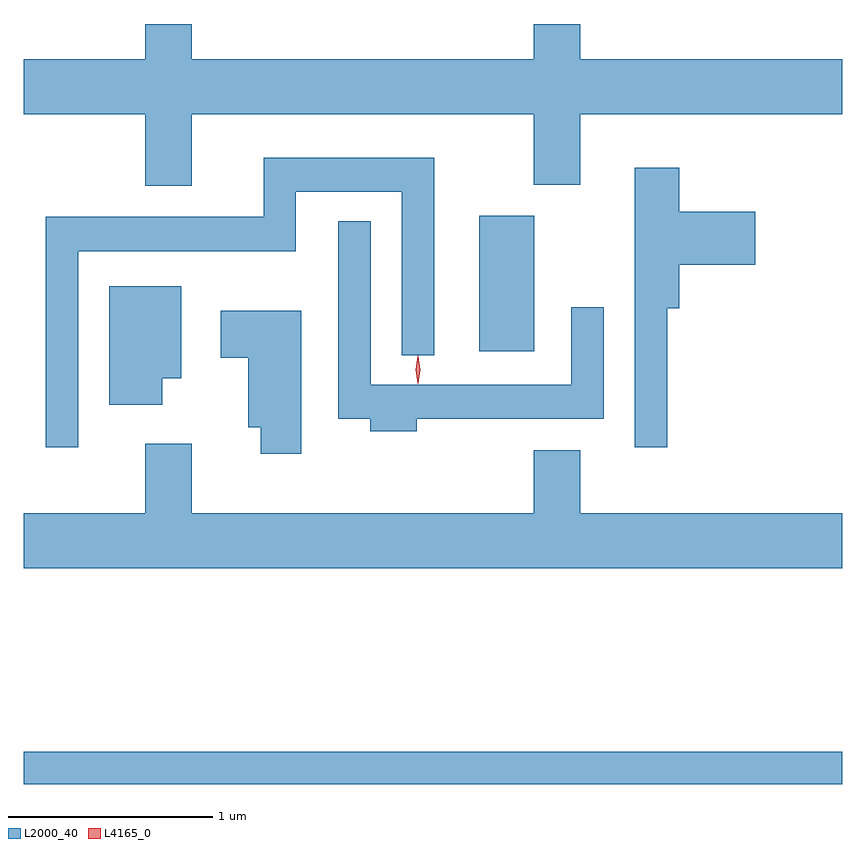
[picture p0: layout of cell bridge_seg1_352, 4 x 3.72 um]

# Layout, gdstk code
import gdstk
lib = gdstk.Library(unit=1e-6, precision=1e-09)
def R(c, l, rs):  # rectangles x0, y0, x1, y1
    for r in rs: c.add(gdstk.rectangle(r[:2], r[2:], *l))
def P(c, l, *ps):  # polygons
    for p in ps: c.add(gdstk.Polygon(p, *l))
L2000_40 = (2000, 40)
L4165_0 = (4165, 0)

bridge_seg1_352 = lib.new_cell('bridge_seg1_352')
R(bridge_seg1_352, L2000_40, [(940.819,871.881,944.819,872.039), (943.046,873.996,943.314,874.659)])
P(bridge_seg1_352, L2000_40, [(941.639,875.156),(943.311,875.156),(943.311,874.811),(943.539,874.811),(943.539,875.156),(944.819,875.156),(944.819,875.424),(943.539,875.424),(943.539,875.597),(943.311,875.597),(943.311,875.424),(941.639,875.424),(941.639,875.597),(941.411,875.597),(941.411,875.424),(940.819,875.424),(940.819,875.156),(941.411,875.156),(941.411,874.806),(941.639,874.806)],
  [(941.084,874.486),(942.149,874.486),(942.149,874.776),(942.666,874.776),(942.666,873.978),(942.824,873.978),(942.824,874.944),(941.991,874.944),(941.991,874.654),(940.926,874.654),(940.926,873.528),(941.084,873.528)],
  [(943.964,874.206),(944.024,874.206),(944.024,874.421),(944.394,874.421),(944.394,874.679),(944.024,874.679),(944.024,874.894),(943.806,874.894),(943.806,873.528),(943.964,873.528)],
  [(942.739,873.666),(943.654,873.666),(943.654,874.213),(943.496,874.213),(943.496,873.834),(942.514,873.834),(942.514,874.633),(942.356,874.633),(942.356,873.666),(942.511,873.666),(942.511,873.606),(942.739,873.606)],
  [(941.494,873.866),(941.589,873.866),(941.589,874.314),(941.236,874.314),(941.236,873.736),(941.494,873.736)],
  [(942.174,874.194),(941.781,874.194),(941.781,873.966),(941.916,873.966),(941.916,873.626),(941.976,873.626),(941.976,873.496),(942.174,873.496)],
  [(944.819,873.204),(943.539,873.204),(943.539,873.514),(943.311,873.514),(943.311,873.204),(941.639,873.204),(941.639,873.544),(941.411,873.544),(941.411,873.204),(940.819,873.204),(940.819,872.936),(944.819,872.936)])
P(bridge_seg1_352, L4165_0, [(942.746,873.84),(942.746,873.84),(942.736,873.906),(942.746,873.972),(942.746,873.973),(942.747,873.972),(942.756,873.906),(942.747,873.84)],
  [(942.745,873.837),(942.745,873.837),(942.735,873.907),(942.745,873.976),(942.745,873.976),(942.746,873.976),(942.755,873.907),(942.746,873.837)])

lib.write_gds('bridge_seg1_352.gds')
